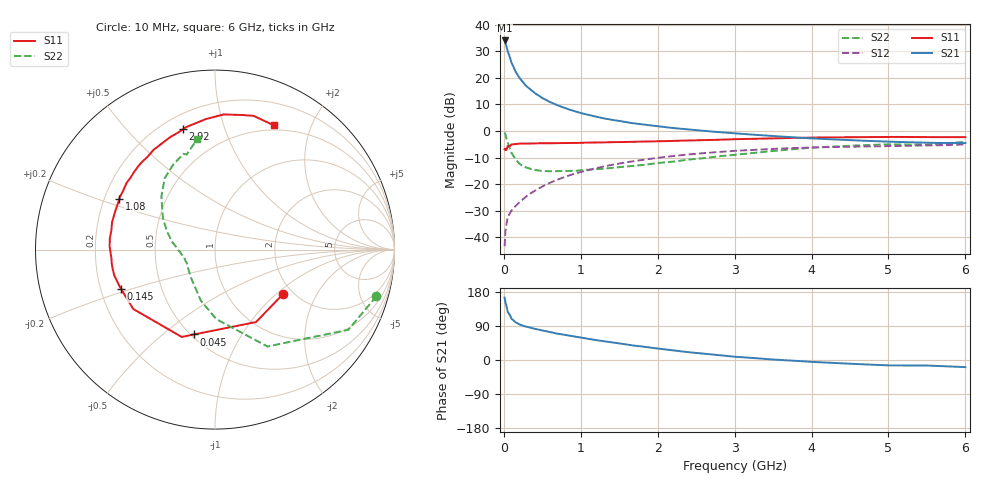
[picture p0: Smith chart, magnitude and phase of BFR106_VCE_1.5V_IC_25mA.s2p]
! Infineon Technologies  Discrete & RF Semiconductors
! BFR106
! VCE =  1.5 V,  IC =  25 mA
! Common Emitter S-Parameters:  Nov 2015
# GHz  S  MA  R  50
!  f  S11  S21  S12  S22
! GHz  MAG  ANG  MAG  ANG  MAG  ANG  MAG  ANG
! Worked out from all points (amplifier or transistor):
!   210 points, 10 MHz to 6 GHz, reference 50 ohm
!   highest |S21| = 34.1 dB at 10 MHz (marker M1)
!   |S21| within 3 dB of that: start of sweep to 40.1 MHz
!   unconditionally stable (mu >= 1): 314.8 MHz to 2.884 GHz; 4.605 GHz to end of sweep
!   at 185 MHz: K = 0.83, MSG = 24.1 dB, |S12| = -27.3 dB
!   at 1.52 GHz: K = 1.07, MAG = 6.3 dB, |S12| = -12.1 dB
!   at 6 GHz: K = 1.02, MAG = -0.5 dB, |S12| = -5.1 dB
!   S11 on the Smith chart (normalised r, x): 10 MHz: 1.79, -1.11; 45 MHz: 0.52, -0.64; 145 MHz: 0.29, -0.19; 1.08 GHz: 0.26, +0.23; 2.92 GHz: 0.28, +0.73; 6 GHz: 0.44, +1.49
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0.01  0.4533 -32.9  50.59 164.5  0.0068 78.2  0.9365 -16.1
0.02  0.464 -60.4  46.25 152.2  0.0128 70.1  0.8669 -31.0
0.045  0.4868 -103.9  33.78 132.3  0.0216 56.3  0.6401 -55.0
0.05  0.5207 -110.9  31.99 126.7  0.0234 54.8  0.6138 -61.6
0.1  0.5629 -144.0  19.17 108.4  0.0321 51.6  0.3871 -89.0
0.145  0.5671 -157.1  13.84 100.7  0.0376 53.3  0.3032 -103.3
0.15  0.5694 -158.5  13.27 99.5  0.0382 53.5  0.2954 -105.4
0.2  0.5795 -165.7  10.18 94.3  0.0453 56.6  0.2443 -115.8
0.26  0.5806 -172.1  7.892 89.7  0.0534 59.7  0.214 -126.8
0.3  0.579 -175.1  6.842 87.4  0.06 61.9  0.2033 -132.0
0.4  0.5872 178.4  5.193 82.4  0.0745 63.8  0.1853 -142.9
0.5  0.5894 173.8  4.175 77.9  0.09 65.1  0.1768 -150.2
0.6  0.5873 169.2  3.505 73.6  0.1062 65.3  0.1746 -154.8
0.8  0.5937 162.1  2.672 66.0  0.1381 64.2  0.177 -163.4
1.02  0.5996 153.9  2.145 58.5  0.1722 62.0  0.1825 -169.2
1.08  0.6042 151.9  2.041 56.4  0.1813 61.3  0.1861 -170.7
2.02  0.6398 125.8  1.215 29.7  0.3154 47.0  0.2507 167.7
2.92  0.6939 104.8  0.921 10.3  0.4152 32.2  0.347 147.0
3.1  0.7055 101.2  0.881 7.3  0.4304 29.2  0.3676 143.1
4.1  0.7554 85.0  0.714 -5.9  0.494 14.2  0.4935 123.3
5.1  0.7734 72.8  0.624 -14.3  0.5234 2.3  0.56 107.9
6  0.7662 64.7  0.594 -18.8  0.5579 -6.8  0.624 99.1
